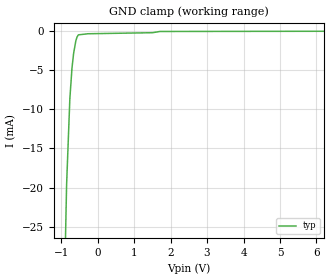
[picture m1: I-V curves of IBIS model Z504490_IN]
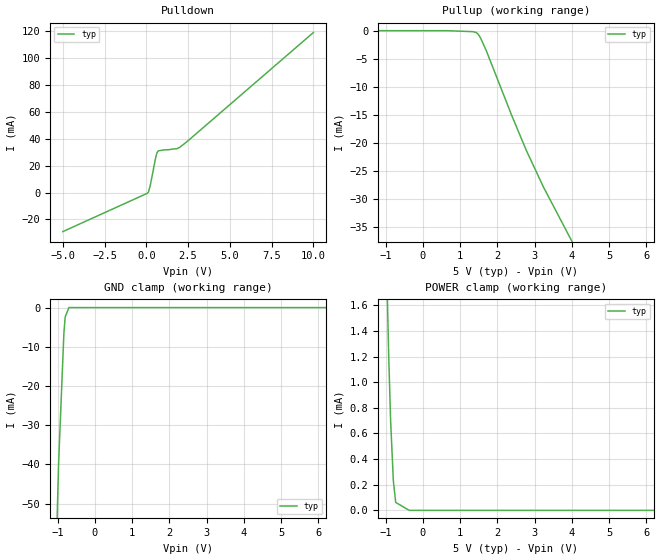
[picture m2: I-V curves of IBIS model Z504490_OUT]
| YOU ARE ONLY AUTHORIZED TO USE THIS SOFTWARE
| ACCORDING TO LICENSOR'S LICENSE RESTRICTIONS.
[IBIS Ver] 3.1
[File Name] sn74ls04d.ibs
[File Rev] 2.0
[Source] Measured and created by ICX Technology
[Date] Friday 7/14/00 9:08:16 AM
[Copyright]
| (C) COPYRIGHT 1993-2000
| MENTOR GRAPHICS CORPORATION
| ICX STANDARD LIBRARY, ICX PROJECT MODELING,
| ICX CUSTOM MODELING, ICX VENDOR MODEL
| ALL RIGHTS RESERVED.
| THE FOLLOWING ARE TRADEMARKS OR SERVICE MARKS OF
| MENTOR GRAPHICS CORPORATION:ICX (R), ICX STANDARD
| LIBRARY(R), ICX PROJECT MODELING(R), ICX CUSTOM
| MODELING(R), qualityIBIS(TM), MODELVIEWER(TM),
| AND MODELEDITOR(TM)
| ALL COPIES OF SOFTWARE, INCLUDING BUT NOT LIMITED TO
| ANY MODIFICATIONS, ENHANCEMENTS OR DERIVATIVE WORKS,
| MUST CONTAIN ALL MENTOR GRAPHICS CORPORATION'S
| NOTICES AND LEGENDS, INCLUDING THOSE EMBEDDED IN
| SOFTWARE AND THOSE AFFIXED TO SOFTWARE MEDIUM
| AND CONTAINER, AS RECEIVED FROM MENTOR GRAPHICS
| CORPORATION.
|  ZAP Model Builder 2.7
[Component] SN74LS04D
[Manufacturer] OnSemiconductor
[Package]
| variable   typ   min   max
R_pkg  .155ohms NA NA
L_pkg  3.028nH NA NA
C_pkg  .381pF NA NA
[Pin] signal_name  model_name  R_pin  L_pin C_pin
1 A Z504490_IN .16 3.587n .407p
2 Y Z504490_OUT .156 3.147n .387p
3 A Z504490_IN .152 2.717n .367p
4 Y Z504490_OUT .148 2.297n .347p
5 A Z504490_IN .152 2.717n .367p
6 Y Z504490_OUT .156 3.147n .387p
7 GROUND GND .16 3.587n .407p
8 Y Z504490_OUT .16 3.587n .407p
9 A Z504490_IN .156 3.147n .387p
10 Y Z504490_OUT .152 2.717n .367p
11 A Z504490_IN .148 2.297n .347p
12 Y Z504490_OUT .152 2.717n .367p
13 A Z504490_IN .156 3.147n .387p
14 VCC POWER .16 3.587n .407p
| Models and submodels in the file (2): Z504490_IN (Input), Z504490_OUT (Output)
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| (C) COPYRIGHT 1993-2000
| MENTOR GRAPHICS CORPORATION
| ICX STANDARD LIBRARY, ICX PROJECT MODELING,
| ICX CUSTOM MODELING, ICX VENDOR MODEL
| ALL RIGHTS RESERVED.
| THE FOLLOWING ARE TRADEMARKS OR SERVICE MARKS OF
| MENTOR GRAPHICS CORPORATION:ICX (R), ICX STANDARD
| LIBRARY(R), ICX PROJECT MODELING(R), ICX CUSTOM
| MODELING(R), qualityIBIS(TM), MODELVIEWER(TM),
| AND MODELEDITOR(TM)
| ALL COPIES OF SOFTWARE, INCLUDING BUT NOT LIMITED TO
| ANY MODIFICATIONS, ENHANCEMENTS OR DERIVATIVE WORKS,
| MUST CONTAIN ALL MENTOR GRAPHICS CORPORATION'S
| NOTICES AND LEGENDS, INCLUDING THOSE EMBEDDED IN
| SOFTWARE AND THOSE AFFIXED TO SOFTWARE MEDIUM
| AND CONTAINER, AS RECEIVED FROM MENTOR GRAPHICS
| CORPORATION.
| Model Application Version 1.89 2/18/99.
[Model] Z504490_IN
Model_type Input
Vinl = 800.0mV
Vinh = 2.000V
C_comp 4.000pF NA NA
| variable typ   min   max
[Voltage Range] 5.000V NA NA
[GND Clamp Reference] 0.000V NA NA
[POWER Clamp Reference] 5.000V NA NA
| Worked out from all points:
|   GND clamp passes 1 mA (typ) near -0.58 V on its own axis
[GND Clamp]
-5V       -945.6mA   NA         NA
-849.2mV  -19.57mA   NA         NA
-760.6mV  -8.622mA   NA         NA
-702.6mV  -4.713mA   NA         NA
-657.5mV  -2.822mA   NA         NA
-595.8mV  -1.189mA   NA         NA
-561.6mV  -706.1uA   NA         NA
-527.2mV  -445.1uA   NA         NA
-263.6mV  -304uA     NA         NA
1.505V    -170.1uA   NA         NA
1.704V    -12.02uA   NA         NA
10V       39.13uA    NA         NA
[POWER Clamp]
-5V       0A         NA         NA
10V       0A         NA         NA
| (C) COPYRIGHT 1993-2000
| MENTOR GRAPHICS CORPORATION
| ICX STANDARD LIBRARY, ICX PROJECT MODELING,
| ICX CUSTOM MODELING, ICX VENDOR MODEL
| ALL RIGHTS RESERVED.
| THE FOLLOWING ARE TRADEMARKS OR SERVICE MARKS OF
| MENTOR GRAPHICS CORPORATION:ICX (R), ICX STANDARD
| LIBRARY(R), ICX PROJECT MODELING(R), ICX CUSTOM
| MODELING(R), qualityIBIS(TM), MODELVIEWER(TM),
| AND MODELEDITOR(TM)
| ALL COPIES OF SOFTWARE, INCLUDING BUT NOT LIMITED TO
| ANY MODIFICATIONS, ENHANCEMENTS OR DERIVATIVE WORKS,
| MUST CONTAIN ALL MENTOR GRAPHICS CORPORATION'S
| NOTICES AND LEGENDS, INCLUDING THOSE EMBEDDED IN
| SOFTWARE AND THOSE AFFIXED TO SOFTWARE MEDIUM
| AND CONTAINER, AS RECEIVED FROM MENTOR GRAPHICS
| CORPORATION.
| Model Application Version 1.89 2/18/99.
[Model] Z504490_OUT
Model_type Output
Vref=5.000V
Rref=2.000kohms
Cref=15.00pF
Vmeas=1.300V
C_comp 8.000pF NA NA
| variable typ   min   max
[Voltage Range] 5.000V NA NA
[POWER Clamp Reference] 5.000V NA NA
[Pullup Reference] 5.000V NA NA
[Pulldown Reference] 0.000V NA NA
[GND Clamp Reference] 0.000V NA NA
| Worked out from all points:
|   slope of the pulldown table from 0 to 0.75 V, typ, clamps not added: 23.5 ohm
|   slope of the pullup table from 0 to 0.75 V, typ, clamps not added: 28.4 kohm
|   GND clamp passes 1 mA (typ) near -0.74 V on its own axis
|   POWER clamp passes 1 mA (typ) near -0.89 V on its own axis
[GND Clamp]
-5V       -1.769A    NA         NA
-1.093V   -80.85mA   NA         NA
-976.6mV  -39.77mA   NA         NA
-834.9mV  -6.596mA   NA         NA
-799.8mV  -2.402mA   NA         NA
-699.8mV  0A         NA         NA
10V       0A         NA         NA
[Pulldown]
-5V       -29.04mA   NA         NA
68.47mV   -520.7uA   NA         NA
131.8mV   499.8uA    NA         NA
243.4mV   5.665mA    NA         NA
561.5mV   26.05mA    NA         NA
634.8mV   29.37mA    NA         NA
693.2mV   30.6mA     NA         NA
994mV     31.57mA    NA         NA
1.831V    32.49mA    NA         NA
1.971V    33.28mA    NA         NA
2.602V    39.54mA    NA         NA
10V       118.7mA    NA         NA
[Pullup]
-5V       11.96uA    NA         NA
643mV     11.96uA    NA         NA
1.343V    -160.6uA   NA         NA
1.438V    -325.6uA   NA         NA
1.494V    -687.8uA   NA         NA
1.551V    -1.299mA   NA         NA
1.707V    -3.59mA    NA         NA
2.383V    -15.03mA   NA         NA
2.779V    -21.32mA   NA         NA
3.234V    -27.79mA   NA         NA
10V       -113.4mA   NA         NA
[POWER Clamp]
-5V       63.61mA    NA         NA
-1.112V   3.714mA    NA         NA
-917mV    1.217mA    NA         NA
-864mV    696uA      NA         NA
-791mV    230.2uA    NA         NA
-728mV    61.85uA    NA         NA
-364mV    0A         NA         NA
10V       0A         NA         NA
[Ramp]
| variable typ min max
dV/dt_r 1.827/4.247n NA NA
dV/dt_f 1.827/1.987n NA NA
R_load = 500.0Ohms
